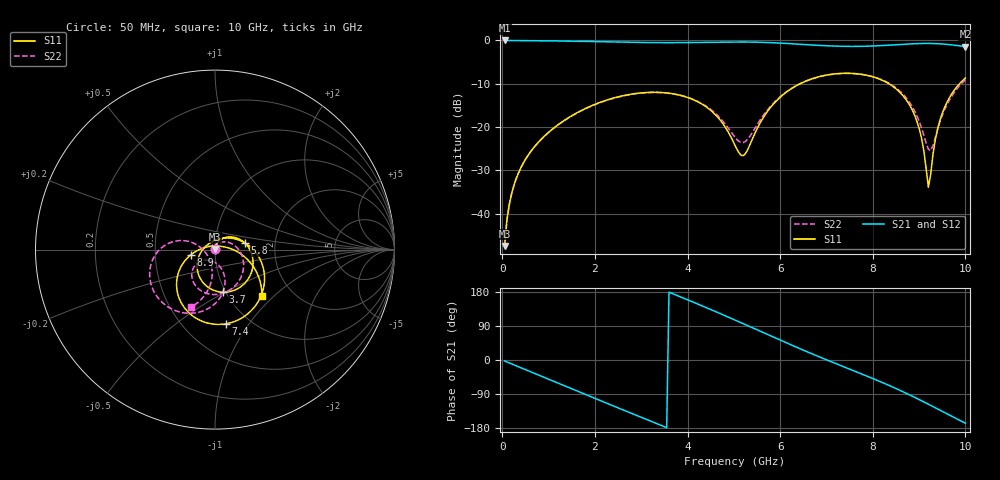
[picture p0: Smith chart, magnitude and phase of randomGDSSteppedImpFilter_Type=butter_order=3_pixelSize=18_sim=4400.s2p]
! freq	dB(S11)	phase(S11)	dB(S12)	phase(S12)
!  dB(S21)	phase(S21)	dB(S22)	phase(S22)
!S-par simulation data
#  GHz  S  DB  R 50
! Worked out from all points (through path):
!   200 points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, 50 MHz to 10 GHz, reference 50 ohm
!   highest |S21| = 0.00 dB at 50 MHz (marker M1); lowest = -1.5 dB at 10 GHz (marker M2)
!   group delay of S21, straight-line fit = 144 ps
!   lowest |S11| = -47.5 dB at 50 MHz (marker M3), VSWR 1.01, Z = 50 + j0.421 ohm
!   |S11| at or under -10 dB: start of sweep to 6.429 GHz; 8.347 GHz to 9.873 GHz (1.526 GHz wide, 16.8 % of centre)
!   |S22| runs from -47.5 to -7.6 dB; largest |S21 - S12| = 0
!   S11 on the Smith chart (normalised r, x): 50 MHz: 1.00, +0.01; 3.7 GHz: 0.97, -0.49; 5.8 GHz: 1.39, +0.11; 7.4 GHz: 0.78, -0.78; 8.9 GHz: 0.76, -0.05; 10 GHz: 1.41, -0.85
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0.05  -47.49 86.6  -0.00 -2.6  -0.00 -2.6  -47.52 85.3
0.1  -41.48 85.3  -0.01 -5.2  -0.01 -5.2  -41.50 82.8
0.2  -35.46 81.7  -0.03 -10.3  -0.03 -10.3  -35.48 76.6
0.45  -28.39 72.1  -0.05 -22.9  -0.05 -22.9  -28.41 60.8
1.15  -19.91 44.2  -0.11 -58.4  -0.11 -58.4  -19.95 18.6
1.75  -15.96 17.7  -0.22 -88.7  -0.22 -88.7  -16.02 -14.9
2.5  -13.03 -18.2  -0.38 -126.4  -0.38 -126.4  -13.09 -53.9
3.4  -12.01 -63.8  -0.51 -171.1  -0.51 -171.1  -12.04 -96.6
3.7  -12.35 -79.8  -0.51 174.0  -0.51 174.0  -12.37 -109.9
4.5  -16.14 -128.2  -0.42 133.3  -0.42 133.3  -15.95 -139.3
5.05  -24.78 165.4  -0.36 104.1  -0.36 104.1  -22.69 -127.4
5.25  -26.17 98.7  -0.36 93.2  -0.36 93.2  -23.35 -96.7
5.8  -15.37 12.7  -0.51 63.2  -0.51 63.2  -15.12 -71.6
6.7  -8.81 -44.6  -1.06 15.6  -1.06 15.6  -8.85 -104.8
7.4  -7.58 -81.6  -1.37 -19.1  -1.37 -19.1  -7.62 -135.4
8.35  -10.02 -131.7  -1.09 -67.0  -1.09 -67.0  -9.89 -177.8
8.9  -17.17 -167.7  -0.76 -98.2  -0.76 -98.2  -16.23 162.8
9.05  -22.42 176.2  -0.71 -107.3  -0.71 -107.3  -20.12 166.4
9.2  -33.89 103.1  -0.70 -116.6  -0.70 -116.6  -25.14 -162.4
9.35  -22.93 8.7  -0.73 -126.1  -0.73 -126.1  -22.46 -108.9
9.5  -16.86 -9.0  -0.82 -135.6  -0.82 -135.6  -17.34 -96.5
10  -8.68 -44.8  -1.47 -166.6  -1.47 -166.6  -9.13 -112.8
